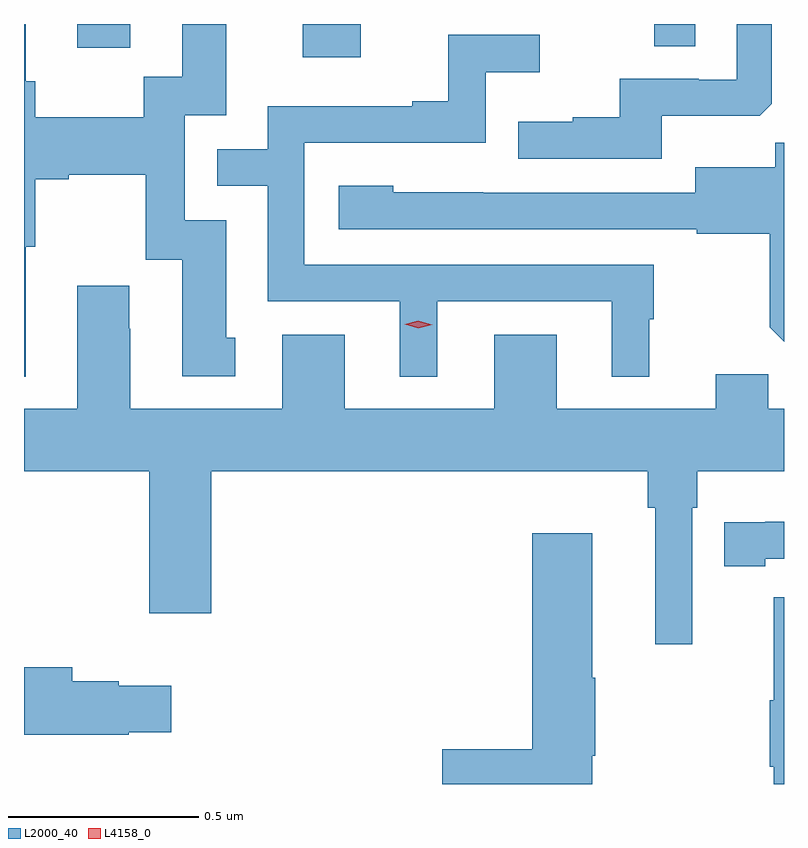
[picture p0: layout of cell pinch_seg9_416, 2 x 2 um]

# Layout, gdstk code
import gdstk
lib = gdstk.Library(unit=1e-6, precision=1e-09)
def R(c, l, rs):  # rectangles x0, y0, x1, y1
    for r in rs: c.add(gdstk.rectangle(r[:2], r[2:], *l))
def P(c, l, *ps):  # polygons
    for p in ps: c.add(gdstk.Polygon(p, *l))
L2000_40 = (2000, 40)
L4158_0 = (4158, 0)

pinch_seg9_416 = lib.new_cell('pinch_seg9_416')
R(pinch_seg9_416, L2000_40, [(369.209,1240.134,369.361,1240.221), (368.615,1240.158,368.755,1240.221), (370.134,1240.162,370.242,1240.221)])
P(pinch_seg9_416, L2000_40, [(368.479,1239.635),(368.505,1239.635),(368.505,1239.812),(368.593,1239.812),(368.593,1239.824),(368.795,1239.824),(368.795,1239.6),(368.891,1239.6),(368.891,1239.294),(369.031,1239.294),(369.031,1239.396),(369.007,1239.396),(369.007,1239.705),(368.898,1239.705),(368.898,1239.981),(369.007,1239.981),(369.007,1240.221),(368.891,1240.221),(368.891,1240.082),(368.79,1240.082),(368.79,1239.976),(368.505,1239.976),(368.505,1240.071),(368.479,1240.071),(368.479,1240.221),(368.475,1240.221),(368.475,1239.293),(368.479,1239.293)],
  [(370.153,1239.98),(370.411,1239.98),(370.443,1240.011),(370.443,1240.221),(370.35,1240.221),(370.35,1240.074),(370.25,1240.074),(370.25,1240.077),(370.043,1240.077),(370.043,1239.976),(369.919,1239.976),(369.919,1239.964),(369.775,1239.964),(369.775,1239.867),(370.153,1239.867)],
  [(369.562,1239.492),(370.022,1239.492),(370.022,1239.293),(370.12,1239.293),(370.12,1239.444),(370.132,1239.444),(370.132,1239.588),(369.213,1239.588),(369.213,1239.909),(369.69,1239.909),(369.69,1240.094),(369.832,1240.094),(369.832,1240.193),(369.592,1240.193),(369.592,1240.018),(369.497,1240.018),(369.497,1240.005),(369.117,1240.005),(369.117,1239.891),(368.983,1239.891),(368.983,1239.795),(369.117,1239.795),(369.117,1239.492),(369.464,1239.492),(369.464,1239.293),(369.562,1239.293)],
  [(370.475,1239.908),(370.452,1239.908),(370.452,1239.844),(370.241,1239.844),(370.241,1239.777),(369.683,1239.777),(369.683,1239.778),(369.447,1239.778),(369.447,1239.796),(369.303,1239.796),(369.303,1239.681),(370.245,1239.681),(370.245,1239.669),(370.437,1239.669),(370.437,1239.423),(370.475,1239.385)],
  [(370.233,1238.948),(370.247,1238.948),(370.247,1239.044),(370.475,1239.044),(370.475,1239.208),(370.433,1239.208),(370.433,1239.299),(370.295,1239.299),(370.295,1239.208),(369.877,1239.208),(369.877,1239.403),(369.713,1239.403),(369.713,1239.208),(369.319,1239.208),(369.319,1239.403),(369.155,1239.403),(369.155,1239.208),(368.755,1239.208),(368.755,1239.419),(368.752,1239.419),(368.752,1239.532),(368.615,1239.532),(368.615,1239.208),(368.475,1239.208),(368.475,1239.044),(368.804,1239.044),(368.804,1238.67),(368.968,1238.67),(368.968,1239.044),(370.117,1239.044),(370.117,1238.948),(370.136,1238.948),(370.136,1238.589),(370.233,1238.589)],
  [(370.426,1238.814),(370.475,1238.814),(370.475,1238.911),(370.426,1238.911),(370.426,1238.91),(370.318,1238.91),(370.318,1238.794),(370.426,1238.794)],
  [(369.97,1238.295),(369.978,1238.295),(369.978,1238.501),(369.97,1238.501),(369.97,1238.881),(369.812,1238.881),(369.812,1238.312),(369.576,1238.312),(369.576,1238.221),(369.97,1238.221)],
  [(370.475,1238.713),(370.448,1238.713),(370.448,1238.441),(370.437,1238.441),(370.437,1238.267),(370.448,1238.267),(370.448,1238.221),(370.475,1238.221)],
  [(368.75,1238.357),(368.863,1238.357),(368.863,1238.479),(368.724,1238.479),(368.724,1238.492),(368.602,1238.492),(368.602,1238.528),(368.475,1238.528),(368.475,1238.35),(368.75,1238.35)])
P(pinch_seg9_416, L4158_0, [(369.513,1239.42),(369.477,1239.431),(369.477,1239.431),(369.477,1239.431),(369.513,1239.44),(369.549,1239.429),(369.549,1239.429),(369.549,1239.429)])

lib.write_gds('pinch_seg9_416.gds')
